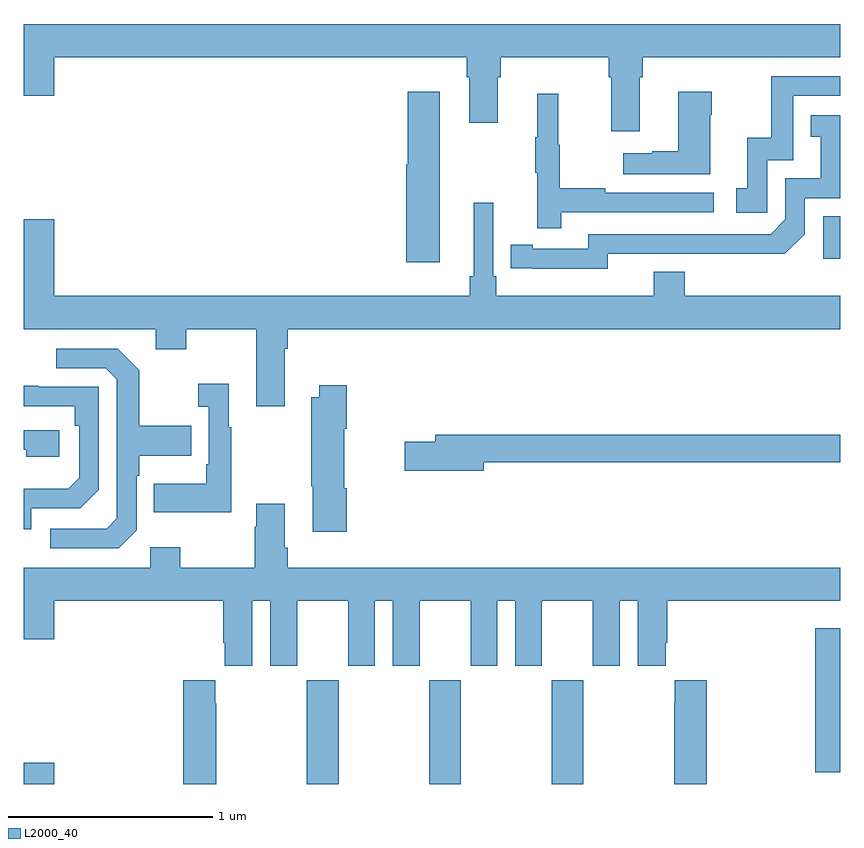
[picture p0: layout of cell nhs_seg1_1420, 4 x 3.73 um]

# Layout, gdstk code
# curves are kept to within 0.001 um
import gdstk
lib = gdstk.Library(unit=1e-6, precision=1e-09)
def R(c, l, rs):  # rectangles x0, y0, x1, y1
    for r in rs: c.add(gdstk.rectangle(r[:2], r[2:], *l))
def A(c, l, x, y, w, h, nx, ny, dx, dy):  # array of equal rectangles
    R(c, l, [(x+i*dx, y+j*dy, x+i*dx+w, y+j*dy+h) for i in range(nx) for j in range(ny)])
def P(c, l, *ps):  # polygons
    for p in ps: c.add(gdstk.Polygon(p, *l))
L2000_40 = (2000, 40)

nhs_seg1_1420 = lib.new_cell('nhs_seg1_1420')
A(nhs_seg1_1420, L2000_40, 190.387, 520.199, 0.155, 0.509, 3, 1, 0.6, 0)
R(nhs_seg1_1420, L2000_40, [(189,520.199,189.148,520.303), (192.878,520.256,193,520.963), (192.918,522.774,193,522.981)])
P(nhs_seg1_1420, L2000_40, [(189,523.572),(189.148,523.572),(189.148,523.76),(191.171,523.76),(191.171,523.664),(191.183,523.664),(191.183,523.44),(191.323,523.44),(191.323,523.664),(191.336,523.664),(191.336,523.76),(191.867,523.76),(191.867,523.664),(191.879,523.664),(191.879,523.398),(192.019,523.398),(192.019,523.664),(192.032,523.664),(192.032,523.76),(193,523.76),(193,523.924),(189,523.924)],
  [(192.642,523.257),(192.771,523.257),(192.771,523.572),(193,523.572),(193,523.668),(192.663,523.668),(192.663,523.366),(192.545,523.366),(192.545,523.119),(192.492,523.119),(192.492,522.999),(192.642,522.999)],
  [(192.364,523.478),(192.372,523.478),(192.372,523.591),(192.206,523.591),(192.206,523.301),(192.08,523.301),(192.08,523.291),(191.937,523.291),(191.937,523.187),(192.364,523.187)],
  [(191.038,523.591),(190.88,523.591),(190.88,523.233),(190.874,523.233),(190.874,522.756),(191.038,522.756)],
  [(191.633,523.002),(192.382,523.002),(192.382,523.098),(191.849,523.098),(191.849,523.118),(191.626,523.118),(191.626,523.332),(191.618,523.332),(191.618,523.582),(191.516,523.582),(191.516,523.369),(191.505,523.369),(191.505,523.195),(191.516,523.195),(191.516,522.924),(191.633,522.924)],
  [(191.862,522.798),(192.73,522.797),(192.828,522.894),(192.828,523.071),(193,523.071),(193,523.477),(192.856,523.477),(192.856,523.371),(192.905,523.371),(192.905,523.167),(192.732,523.167),(192.732,522.966),(192.66,522.894),(191.766,522.894),(191.766,522.822),(191.494,522.822),(191.494,522.842),(191.386,522.842),(191.386,522.726),(191.862,522.725)],
  [(193,522.592),(192.239,522.592),(192.239,522.709),(192.086,522.709),(192.086,522.592),(191.315,522.592),(191.315,522.688),(191.301,522.688),(191.301,523.048),(191.204,523.048),(191.204,522.688),(191.185,522.688),(191.185,522.592),(189.148,522.592),(189.148,522.967),(189,522.967),(189,522.428),(189.647,522.428),(189.647,522.329),(189.795,522.329),(189.795,522.428),(190.139,522.428),(190.139,522.051),(190.279,522.051),(190.279,522.332),(190.292,522.332),(190.292,522.428),(193,522.428)],
  [(189.552,521.442),(189.552,521.711),(189.565,521.711),(189.565,521.807),(189.821,521.807),(189.821,521.955),(189.565,521.955),(189.565,522.227),(189.459,522.333),(189.159,522.333),(189.159,522.237),(189.402,522.237),(189.456,522.183),(189.456,521.502),(189.405,521.451),(189.129,521.451),(189.129,521.355),(189.465,521.355)],
  [(190.015,521.947),(190.003,521.947),(190.003,522.16),(189.855,522.16),(189.855,522.047),(189.906,522.047),(189.906,521.767),(189.894,521.767),(189.894,521.671),(189.637,521.671),(189.637,521.531),(190.015,521.531)],
  [(190.583,521.648),(190.57,521.648),(190.57,521.941),(190.583,521.941),(190.583,522.154),(190.448,522.154),(190.448,522.094),(190.408,522.094),(190.408,521.659),(190.415,521.659),(190.415,521.436),(190.583,521.436)],
  [(189.036,521.55),(189.276,521.55),(189.366,521.64),(189.366,522.147),(189.071,522.147),(189.071,522.152),(189,522.152),(189,522.051),(189.25,522.051),(189.25,521.954),(189.27,521.954),(189.27,521.7),(189.217,521.647),(189,521.647),(189,521.448),(189.036,521.448)],
  [(189.172,521.934),(189,521.934),(189,521.838),(189.011,521.838),(189.011,521.804),(189.172,521.804)],
  [(191.254,521.776),(193,521.776),(193,521.912),(191.015,521.912),(191.015,521.876),(190.866,521.876),(190.866,521.734),(191.254,521.734)],
  [(190.12,521.096),(190.208,521.096),(190.208,520.779),(190.339,520.779),(190.339,521.096),(190.589,521.096),(190.589,520.779),(190.72,520.779),(190.72,521.096),(190.808,521.096),(190.808,520.779),(190.939,520.779),(190.939,521.096),(191.189,521.096),(191.189,520.779),(191.32,520.779),(191.32,521.096),(191.408,521.096),(191.408,520.779),(191.539,520.779),(191.539,521.096),(191.789,521.096),(191.789,520.779),(191.92,520.779),(191.92,521.096),(192.008,521.096),(192.008,520.779),(192.145,520.779),(192.145,520.891),(192.152,520.891),(192.152,521.096),(193,521.096),(193,521.26),(190.292,521.26),(190.292,521.356),(190.279,521.356),(190.279,521.572),(190.139,521.572),(190.139,521.459),(190.132,521.459),(190.132,521.26),(189.765,521.26),(189.765,521.359),(189.618,521.359),(189.618,521.26),(189,521.26),(189,520.908),(189.148,520.908),(189.148,521.096),(189.977,521.096),(189.977,520.891),(189.983,520.891),(189.983,520.779),(190.12,520.779)],
  [(192.347,520.708),(192.191,520.708),(192.191,520.595),(192.187,520.595),(192.187,520.199),(192.347,520.199)],
  [(189.942,520.595),(189.937,520.595),(189.937,520.708),(189.782,520.708),(189.782,520.199),(189.942,520.199)])

lib.write_gds('nhs_seg1_1420.gds')
